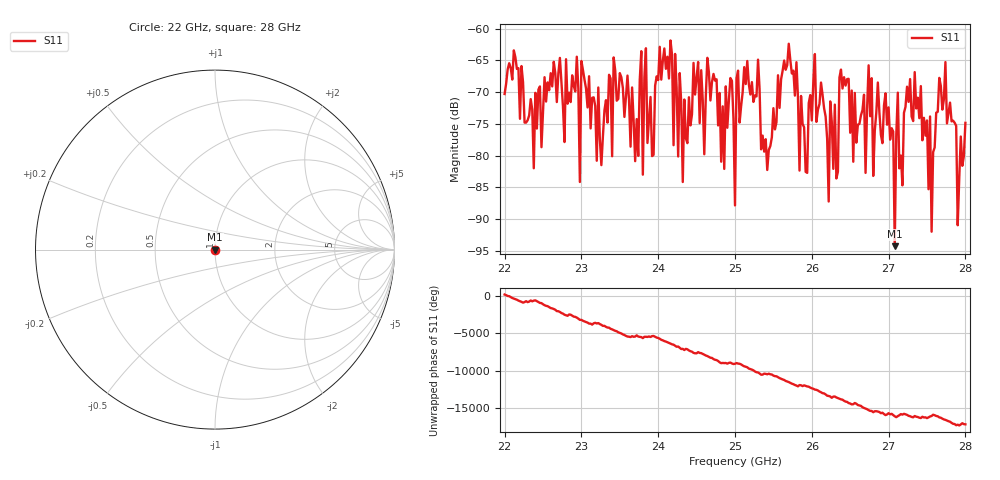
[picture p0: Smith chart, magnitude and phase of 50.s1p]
#  HZ  S  RI  R  50.00
! Rohde & Schwarz ZVA40 4Ports - Version 3.90 - 1145.1110k42 SN: 100403
! Date: 2023-10-04 09:20:26
! Measurement: S12
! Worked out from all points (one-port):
!   301 points, 22 GHz to 28 GHz, reference 50 ohm
!   lowest |S11| = -94.3 dB at 27.08 GHz (marker M1), VSWR 1.00, Z = 50 + j0.00192 ohm
!   |S11| at or under -10 dB: start of sweep to end of sweep
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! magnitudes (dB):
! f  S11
! 22 GHz  -70.3
! 22.76 GHz  -72.3
! 23.36 GHz  -67.3
! 23.4 GHz  -80.1
! 23.42 GHz  -64.5
! 23.5 GHz  -67.0
! 23.74 GHz  -80.1
! 23.78 GHz  -63.5
! 23.8 GHz  -83.0
! 23.84 GHz  -63.1
! 23.94 GHz  -79.9
! 24.16 GHz  -61.9
! 24.26 GHz  -80.1
! 24.52 GHz  -65.3
! 24.6 GHz  -79.8
! 24.64 GHz  -64.6
! 25 GHz  -87.9
! 25.04 GHz  -66.6
! 25.42 GHz  -82.3
! 25.76 GHz  -66.6
! 25.84 GHz  -82.4
! 26.04 GHz  -64.0
! 26.5 GHz  -76.4
! 26.7 GHz  -82.7
! 26.74 GHz  -65.8
! 27.08 GHz  -94.3
! 27.26 GHz  -71.5
! 28 GHz  -74.8
